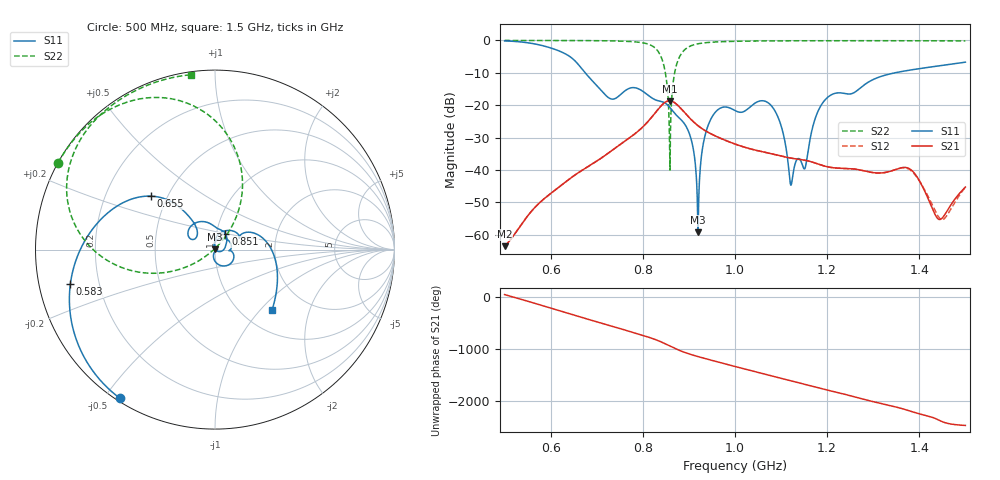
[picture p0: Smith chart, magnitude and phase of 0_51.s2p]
! TOUCHSTONE file generated by CST MICROWAVE STUDIO
! Date and time: Mon Sep 28 15:36:47 2020
! Project name: Scenario_1_Free_SPace.cst
! Parameters = {dx1=1039; L_HA=400; MT=2.54; Rad_Dielectric=30; Rad_Lower=7.3; Rad_Upper=30; a_HA=580; a_WG=246; b_HA=500; b_WG=121; c_HA=0; c_WG=187; d_feed=85; h_feed=15; h_lower=18; h_upper=40}
! Header version: 2018
! Port assignment regex: !\s*Touchstone port\s*([0-9]+)\s*=\s*(CST MWS port|CST DS port)\s*([0-9]+|Zmin|Zmax)\s*\(\"(.*)\"\)(\s*mode\s*([0-9]+))?.*
! Touchstone port assignment:
! Touchstone port 1 = CST MWS port 1 ("")
! Touchstone port 2 = CST MWS port 2 ("")
# GHz S DB R 50
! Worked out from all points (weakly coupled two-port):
!   1003 points, 500 MHz to 1.5 GHz, reference 50 ohm
!   highest |S21| = -18.64 dB at 858 MHz (marker M1); lowest = -63.5 dB at 500 MHz (marker M2)
!   lowest |S11| = -59.2 dB at 920 MHz (marker M3), VSWR 1.00, Z = 50 + j0.102 ohm
!   |S11| at or under -10 dB: 674.9 MHz to 1.347 GHz (671.9 MHz wide, 66.5 % of centre)
!   |S22| runs from -40.0 to 0.0 dB; largest |S21 - S12| = 0.0006
!   S11 on the Smith chart (normalised r, x): 500 MHz: 0.01, -0.55; 583 MHz: 0.09, -0.12; 655 MHz: 0.40, +0.31; 851 MHz: 1.10, +0.20; 1.5 GHz: 1.36, -1.16
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0.5  -0.15 -122.5  -63.49 46.7  -63.49 46.7  -0.01 151.1
0.583  -1.63 -166.5  -49.18 -169.2  -49.20 -169.2  -0.02 145.4
0.655  -6.63 140.2  -41.30 -0.6  -41.30 -0.6  -0.04 139.4
0.667  -8.63 132.9  -40.17 -32.3  -40.18 -32.3  -0.04 138.3
0.729  -17.94 141.8  -34.36 169.4  -34.36 169.4  -0.12 130.9
0.834  -18.64 80.1  -21.08 -121.8  -21.08 -121.8  -3.56 85.5
0.851  -19.59 56.5  -18.88 170.5  -18.88 170.5  -11.97 58.8
0.858  -20.57 45.3  -18.64 140.2  -18.64 140.2  -32.20 55.2
0.877  -23.66 22.7  -20.18 62.5  -20.18 62.5  -5.89 -167.7
0.904  -30.10 -20.3  -24.30 -23.7  -24.30 -23.7  -1.68 166.7
0.92  -59.24 69.2  -26.35 -65.5  -26.35 -65.5  -1.02 158.4
0.946  -24.74 75.6  -28.69 -128.5  -28.69 -128.5  -0.58 150.0
1  -21.63 -2.9  -31.97 104.8  -31.97 104.8  -0.27 140.3
1.08  -20.34 -68.8  -34.99 -77.1  -34.99 -77.1  -0.14 131.5
1.122  -44.60 -38.7  -36.33 -171.6  -36.33 -171.6  -0.11 127.8
1.152  -39.43 54.4  -36.98 119.8  -36.98 119.8  -0.10 125.4
1.167  -27.68 92.9  -37.51 84.6  -37.51 84.6  -0.10 124.2
1.204  -17.23 50.7  -39.09 3.7  -39.09 3.7  -0.09 121.3
1.334  -10.41 4.7  -40.50 78.9  -40.49 78.2  -0.09 111.4
1.384  -9.05 -14.0  -40.16 -42.4  -40.41 -44.6  -0.10 107.5
1.443  -7.83 -31.9  -55.25 152.0  -54.69 169.9  -0.12 102.8
1.5  -6.71 -46.4  -45.25 52.1  -45.26 52.0  -0.14 97.9
